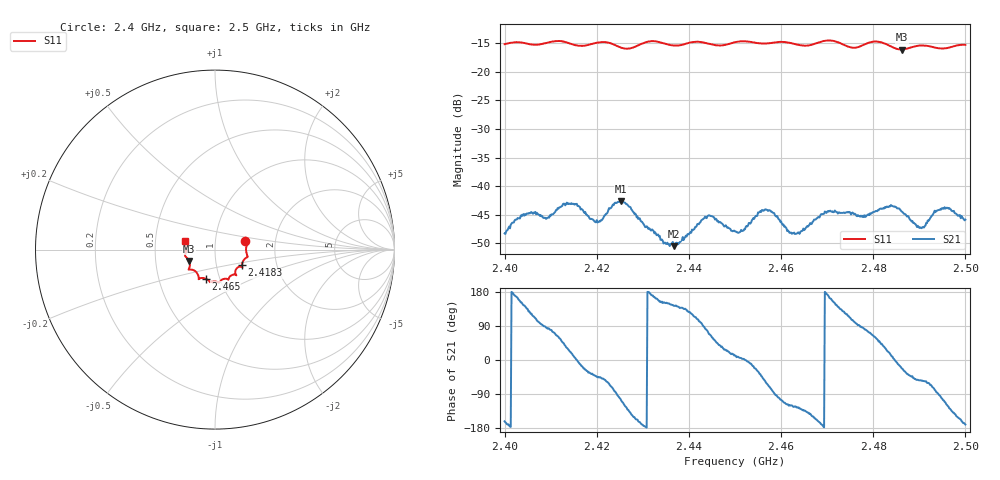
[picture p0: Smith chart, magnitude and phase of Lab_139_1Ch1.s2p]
# Hz S RI R 50
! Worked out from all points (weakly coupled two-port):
!   601 points, 2.4 GHz to 2.5 GHz, reference 50 ohm
!   highest |S21| = -42.69 dB at 2.4253 GHz (marker M1); lowest = -50.5 dB at 2.4368 GHz (marker M2)
!   lowest |S11| = -16.1 dB at 2.4862 GHz (marker M3), VSWR 1.37, Z = 37.2 - j4.82 ohm
!   |S11| at or under -10 dB: start of sweep to end of sweep
!   S12 and S22 are empty: the file has one direction only
!   S11 on the Smith chart (normalised r, x): 2.4 GHz: 1.40, +0.14; 2.4183 GHz: 1.33, -0.24; 2.465 GHz: 0.86, -0.29; 2.5 GHz: 0.71, +0.07
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2.4e9  0.1688 0.047  -0.00366 -0.0012  0 0  0 0
2.405333e9  0.1746 0.0159  -0.00362 0.00456  0 0  0 0
2.414e9  0.1721 -0.0464  0.00634 0.00294  0 0  0 0
2.416667e9  0.1546 -0.0683  0.0061 -0.00172  0 0  0 0
2.418333e9  0.15 -0.0869  0.00448 -0.00285  0 0  0 0
2.420667e9  0.1523 -0.0994  0.00344 -0.00347  0 0  0 0
2.425333e9  0.1312 -0.0965  -0.00221 -0.007  0 0  0 0
2.433333e9  0.1175 -0.1409  -0.00349 0.00141  0 0  0 0
2.436833e9  0.0922 -0.143  -0.00237 0.0018  0 0  0 0
2.4445e9  0.0656 -0.1631  0.00211 0.00512  0 0  0 0
2.45e9  0.0264 -0.1804  0.00393 0.000834  0 0  0 0
2.456333e9  -0.00369 -0.1773  0.00374 -0.00485  0 0  0 0
2.461833e9  -0.0309 -0.1774  -0.00187 -0.00342  0 0  0 0
2.465e9  -0.0524 -0.1616  -0.00286 -0.00296  0 0  0 0
2.466667e9  -0.0714 -0.1578  -0.00396 -0.0025  0 0  0 0
2.47e9  -0.0912 -0.1648  -0.00593 0.000704  0 0  0 0
2.478e9  -0.1329 -0.1113  0.000657 0.00532  0 0  0 0
2.483333e9  -0.1413 -0.0967  0.00614 0.00231  0 0  0 0
2.486167e9  -0.1438 -0.0632  0.00555 -0.00225  0 0  0 0
2.490333e9  -0.1666 -0.0363  0.00256 -0.00347  0 0  0 0
2.495333e9  -0.1605 0.00746  -0.00184 -0.00605  0 0  0 0
2.5e9  -0.1666 0.0469  -0.00501 -0.000856  0 0  0 0
